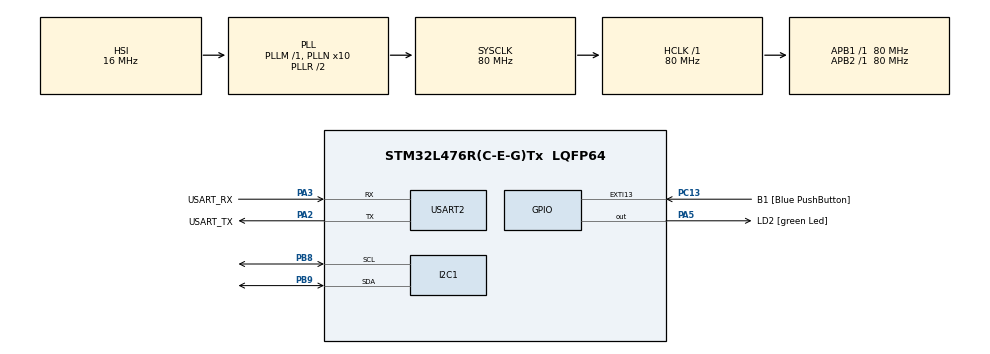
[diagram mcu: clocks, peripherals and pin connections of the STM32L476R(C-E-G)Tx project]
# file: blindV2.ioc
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Mcu.Family=STM32L4
Mcu.Name=STM32L476R(C-E-G)Tx
Mcu.Package=LQFP64
NVIC.PriorityGroup=NVIC_PRIORITYGROUP_4
PA13\ (JTMS-SWDIO).GPIO_Label=TMS
PA13\ (JTMS-SWDIO).Mode=Serial_Wire
PA13\ (JTMS-SWDIO).Signal=SYS_JTMS-SWDIO
PA14\ (JTCK-SWCLK).GPIO_Label=TCK
PA14\ (JTCK-SWCLK).Mode=Serial_Wire
PA14\ (JTCK-SWCLK).Signal=SYS_JTCK-SWCLK
PA2.GPIO_Label=USART_TX
PA2.GPIO_Mode=GPIO_MODE_AF_PP
PA2.GPIO_PuPd=GPIO_NOPULL
PA2.GPIO_Speed=GPIO_SPEED_FREQ_VERY_HIGH
PA2.Mode=Asynchronous
PA2.Signal=USART2_TX
PA3.GPIO_Label=USART_RX
PA3.GPIO_Mode=GPIO_MODE_AF_PP
PA3.GPIO_PuPd=GPIO_NOPULL
PA3.GPIO_Speed=GPIO_SPEED_FREQ_VERY_HIGH
PA3.Mode=Asynchronous
PA3.Signal=USART2_RX
PA5.GPIO_Label=LD2 [green Led]
PA5.GPIO_ModeDefaultOutputPP=GPIO_MODE_OUTPUT_PP
PA5.GPIO_PuPd=GPIO_NOPULL
PA5.GPIO_Speed=GPIO_SPEED_FREQ_LOW
PA5.Signal=GPIO_Output
PB3\ (JTDO-TRACESWO).GPIO_Label=SWO
PB3\ (JTDO-TRACESWO).Signal=SYS_JTDO-SWO
PB8.Mode=I2C
PB8.Signal=I2C1_SCL
PB9.Mode=I2C
PB9.Signal=I2C1_SDA
PC13.GPIO_Label=B1 [Blue PushButton]
PC13.GPIO_ModeDefaultEXTI=GPIO_MODE_IT_FALLING
PC13.GPIO_PuPd=GPIO_NOPULL
PC13.Signal=GPXTI13
PC14-OSC32_IN\ (PC14).Mode=LSE-External-Oscillator
PC14-OSC32_IN\ (PC14).Signal=RCC_OSC32_IN
PC15-OSC32_OUT\ (PC15).Mode=LSE-External-Oscillator
PC15-OSC32_OUT\ (PC15).Signal=RCC_OSC32_OUT
PH0-OSC_IN\ (PH0).Signal=RCC_OSC_IN
PH1-OSC_OUT\ (PH1).Signal=RCC_OSC_OUT
ProjectManager.HeapSize=0x200
ProjectManager.StackSize=0x400
ProjectManager.TargetToolchain=TrueSTUDIO
RCC.ADCFreq_Value=64000000
RCC.AHBFreq_Value=80000000
RCC.APB1Freq_Value=80000000
RCC.APB1TimFreq_Value=80000000
RCC.APB2Freq_Value=80000000
RCC.APB2TimFreq_Value=80000000
RCC.CortexFreq_Value=80000000
RCC.HCLKFreq_Value=80000000
RCC.HSE_VALUE=8000000
RCC.HSI_VALUE=16000000
RCC.MSI_VALUE=4000000
RCC.PLLN=10
RCC.PLLSourceVirtual=RCC_PLLSOURCE_HSI
RCC.PREFETCH_ENABLE=1
RCC.SYSCLKFreq_VALUE=80000000
RCC.SYSCLKSource=RCC_SYSCLKSOURCE_PLLCLK
RCC.USBFreq_Value=64000000
RCC.VCOOutputFreq_Value=160000000
USART2.VirtualMode-Asynchronous=VM_ASYNC
board=NUCLEO-L476RG

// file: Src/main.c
/* USER CODE BEGIN Header */
/**
  ******************************************************************************
  * @file           : main.c
  * @brief          : Main program body
  ******************************************************************************
  * @attention
  *
  * <h2><center>&copy; Copyright (c) 2019 STMicroelectronics.
  * All rights reserved.</center></h2>
  *
  * This software component is licensed by ST under BSD 3-Clause license,
  * the "License"; You may not use this file except in compliance with the
  * License. You may obtain a copy of the License at:
  *                        opensource.org/licenses/BSD-3-Clause
  *
  ******************************************************************************
  */
/* USER CODE END Header */

#include "main.h"

I2C_HandleTypeDef hi2c1;

UART_HandleTypeDef huart2;

void SystemClock_Config(void);
static void MX_GPIO_Init(void);
static void MX_I2C1_Init(void);
static void MX_USART2_UART_Init(void);

int main(void)
{

  /* MCU Configuration--------------------------------------------------------*/

  /* Reset of all peripherals, Initializes the Flash interface and the Systick. */
  HAL_Init();

  /* Configure the system clock */
  SystemClock_Config();

  /* Initialize all configured peripherals */
  MX_GPIO_Init();
  MX_I2C1_Init();
  MX_USART2_UART_Init();
  /* USER CODE BEGIN 2 */

  //
  //
  //
  //
  uint16_t DEVICE_ADDR = (0x70<<1);

  HAL_StatusTypeDef result = 0;
  result = HAL_I2C_IsDeviceReady(&hi2c1, DEVICE_ADDR, 3, 500);

  if (result != 0) {
	  int toto = result;
	  HAL_Delay(toto);
  }

  HAL_Delay(20);
  uint8_t sysOn[] = {0x20 | 1};	// writeCommand(SYSTEM_SETUP_REGISTER, SYSTEM_SETUP_ON);
  result = HAL_I2C_Master_Transmit(&hi2c1, DEVICE_ADDR, sysOn, 1, 100);

  if (result != 0) {
	  int toto = result;
	  HAL_Delay(toto);
  }

  HAL_Delay(20);
  uint8_t dispOn[] = {0x80 | 1 | 0}; // writeCommand(DISPLAY_SETUP_REGISTER, DISPLAY_SETUP_ON | DISPLAY_SETUP_BLINK_NONE);
  result = HAL_I2C_Master_Transmit(&hi2c1, DEVICE_ADDR, dispOn, 1, 100);

  HAL_Delay(20);
  uint8_t bright[] = {0xE0| 7};	// writeCommand(BRIGTHNESS_REGISTER, 7);
  result = HAL_I2C_Master_Transmit(&hi2c1, DEVICE_ADDR, bright, 1, 100);

  HAL_Delay(20);
  uint8_t buffer[] = {0, 0x39,1, 0x3F,2, 0x0,3, 0x3F,4, 0x38};
  result = HAL_I2C_Master_Transmit(&hi2c1, DEVICE_ADDR, buffer, 10, 100);

  HAL_Delay(20);
  HAL_Delay(100);

  /* USER CODE END 2 */

  /* Infinite loop */
  while (1)
  {

  }
}

void SystemClock_Config(void)
{
  RCC_OscInitTypeDef RCC_OscInitStruct = {0};
  RCC_ClkInitTypeDef RCC_ClkInitStruct = {0};
  RCC_PeriphCLKInitTypeDef PeriphClkInit = {0};

  /** Initializes the CPU, AHB and APB busses clocks
  */
  RCC_OscInitStruct.OscillatorType = RCC_OSCILLATORTYPE_HSI;
  RCC_OscInitStruct.HSIState = RCC_HSI_ON;
  RCC_OscInitStruct.HSICalibrationValue = RCC_HSICALIBRATION_DEFAULT;
  RCC_OscInitStruct.PLL.PLLState = RCC_PLL_ON;
  RCC_OscInitStruct.PLL.PLLSource = RCC_PLLSOURCE_HSI;
  RCC_OscInitStruct.PLL.PLLM = 1;
  RCC_OscInitStruct.PLL.PLLN = 10;
  RCC_OscInitStruct.PLL.PLLP = RCC_PLLP_DIV7;
  RCC_OscInitStruct.PLL.PLLQ = RCC_PLLQ_DIV2;
  RCC_OscInitStruct.PLL.PLLR = RCC_PLLR_DIV2;
  if (HAL_RCC_OscConfig(&RCC_OscInitStruct) != HAL_OK)
  {
    Error_Handler();
  }
  /** Initializes the CPU, AHB and APB busses clocks
  */
  RCC_ClkInitStruct.ClockType = RCC_CLOCKTYPE_HCLK|RCC_CLOCKTYPE_SYSCLK
                              |RCC_CLOCKTYPE_PCLK1|RCC_CLOCKTYPE_PCLK2;
  RCC_ClkInitStruct.SYSCLKSource = RCC_SYSCLKSOURCE_PLLCLK;
  RCC_ClkInitStruct.AHBCLKDivider = RCC_SYSCLK_DIV1;
  RCC_ClkInitStruct.APB1CLKDivider = RCC_HCLK_DIV1;
  RCC_ClkInitStruct.APB2CLKDivider = RCC_HCLK_DIV1;

  if (HAL_RCC_ClockConfig(&RCC_ClkInitStruct, FLASH_LATENCY_4) != HAL_OK)
  {
    Error_Handler();
  }
  PeriphClkInit.PeriphClockSelection = RCC_PERIPHCLK_USART2|RCC_PERIPHCLK_I2C1;
  PeriphClkInit.Usart2ClockSelection = RCC_USART2CLKSOURCE_PCLK1;
  PeriphClkInit.I2c1ClockSelection = RCC_I2C1CLKSOURCE_PCLK1;
  if (HAL_RCCEx_PeriphCLKConfig(&PeriphClkInit) != HAL_OK)
  {
    Error_Handler();
  }
  /** Configure the main internal regulator output voltage
  */
  if (HAL_PWREx_ControlVoltageScaling(PWR_REGULATOR_VOLTAGE_SCALE1) != HAL_OK)
  {
    Error_Handler();
  }
}

static void MX_I2C1_Init(void)
{

  hi2c1.Instance = I2C1;
  hi2c1.Init.Timing = 0x10909CEC;
  hi2c1.Init.OwnAddress1 = 0;
  hi2c1.Init.AddressingMode = I2C_ADDRESSINGMODE_7BIT;
  hi2c1.Init.DualAddressMode = I2C_DUALADDRESS_DISABLE;
  hi2c1.Init.OwnAddress2 = 0;
  hi2c1.Init.OwnAddress2Masks = I2C_OA2_NOMASK;
  hi2c1.Init.GeneralCallMode = I2C_GENERALCALL_DISABLE;
  hi2c1.Init.NoStretchMode = I2C_NOSTRETCH_DISABLE;
  if (HAL_I2C_Init(&hi2c1) != HAL_OK)
  {
    Error_Handler();
  }
  /** Configure Analogue filter
  */
  if (HAL_I2CEx_ConfigAnalogFilter(&hi2c1, I2C_ANALOGFILTER_ENABLE) != HAL_OK)
  {
    Error_Handler();
  }
  /** Configure Digital filter
  */
  if (HAL_I2CEx_ConfigDigitalFilter(&hi2c1, 0) != HAL_OK)
  {
    Error_Handler();
  }

}

static void MX_USART2_UART_Init(void)
{

  huart2.Instance = USART2;
  huart2.Init.BaudRate = 115200;
  huart2.Init.WordLength = UART_WORDLENGTH_8B;
  huart2.Init.StopBits = UART_STOPBITS_1;
  huart2.Init.Parity = UART_PARITY_NONE;
  huart2.Init.Mode = UART_MODE_TX_RX;
  huart2.Init.HwFlowCtl = UART_HWCONTROL_NONE;
  huart2.Init.OverSampling = UART_OVERSAMPLING_16;
  huart2.Init.OneBitSampling = UART_ONE_BIT_SAMPLE_DISABLE;
  huart2.AdvancedInit.AdvFeatureInit = UART_ADVFEATURE_NO_INIT;
  if (HAL_UART_Init(&huart2) != HAL_OK)
  {
    Error_Handler();
  }

}

static void MX_GPIO_Init(void)
{
  GPIO_InitTypeDef GPIO_InitStruct = {0};

  /* GPIO Ports Clock Enable */
  __HAL_RCC_GPIOC_CLK_ENABLE();
  __HAL_RCC_GPIOH_CLK_ENABLE();
  __HAL_RCC_GPIOA_CLK_ENABLE();
  __HAL_RCC_GPIOB_CLK_ENABLE();

  /*Configure GPIO pin Output Level */
  HAL_GPIO_WritePin(LD2_GPIO_Port, LD2_Pin, GPIO_PIN_RESET);

  /*Configure GPIO pin : B1_Pin */
  GPIO_InitStruct.Pin = B1_Pin;
  GPIO_InitStruct.Mode = GPIO_MODE_IT_FALLING;
  GPIO_InitStruct.Pull = GPIO_NOPULL;
  HAL_GPIO_Init(B1_GPIO_Port, &GPIO_InitStruct);

  /*Configure GPIO pin : LD2_Pin */
  GPIO_InitStruct.Pin = LD2_Pin;
  GPIO_InitStruct.Mode = GPIO_MODE_OUTPUT_PP;
  GPIO_InitStruct.Pull = GPIO_NOPULL;
  GPIO_InitStruct.Speed = GPIO_SPEED_FREQ_LOW;
  HAL_GPIO_Init(LD2_GPIO_Port, &GPIO_InitStruct);

}

void Error_Handler(void)
{
  /* USER CODE BEGIN Error_Handler_Debug */
  /* User can add his own implementation to report the HAL error return state */
	int error = 1;
	++error;
	--error;
  /* USER CODE END Error_Handler_Debug */
}

/************************ (C) COPYRIGHT STMicroelectronics *****END OF FILE****/
